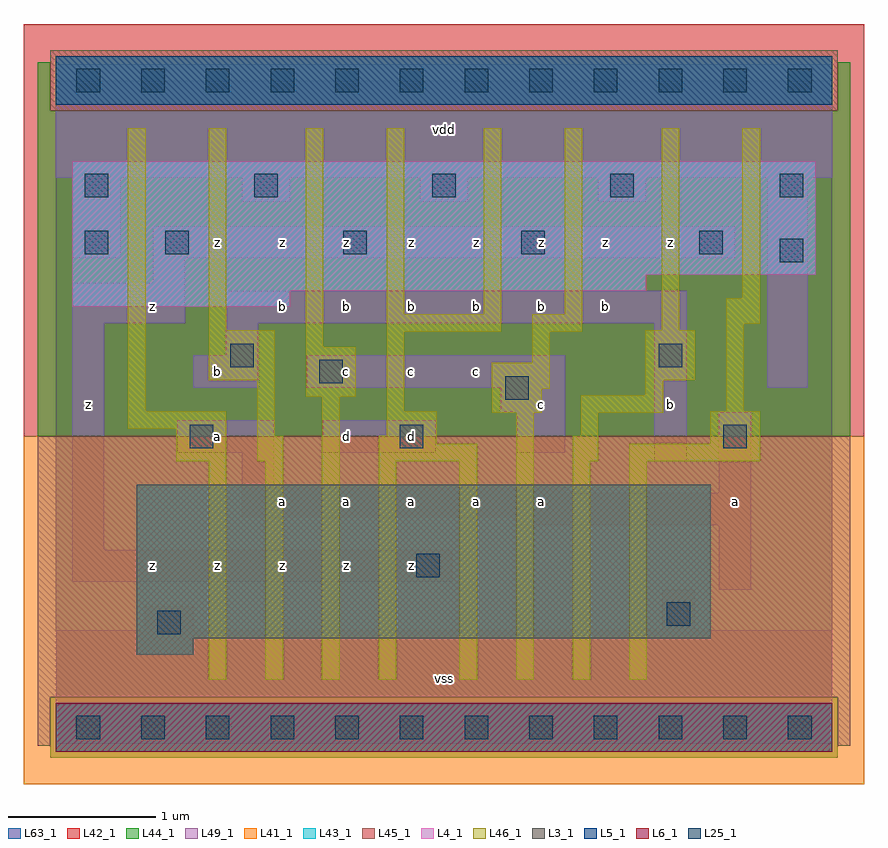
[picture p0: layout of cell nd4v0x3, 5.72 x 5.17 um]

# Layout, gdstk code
import gdstk
lib = gdstk.Library(unit=1e-6, precision=1e-09)
def R(c, l, rs):  # rectangles x0, y0, x1, y1
    for r in rs: c.add(gdstk.rectangle(r[:2], r[2:], *l))
def A(c, l, x, y, w, h, nx, ny, dx, dy):  # array of equal rectangles
    R(c, l, [(x+i*dx, y+j*dy, x+i*dx+w, y+j*dy+h) for i in range(nx) for j in range(ny)])
L3_1 = (3, 1)
L4_1 = (4, 1)
L5_1 = (5, 1)
L6_1 = (6, 1)
L25_1 = (25, 1)
L41_1 = (41, 1)
L42_1 = (42, 1)
L43_1 = (43, 1)
L44_1 = (44, 1)
L45_1 = (45, 1)
L46_1 = (46, 1)
L49_1 = (49, 1)
L63_1 = (63, 1)

nd4v0x3 = lib.new_cell('nd4v0x3')
R(nd4v0x3, L3_1, [(0.55,0.495,0.935,0.605), (0.55,0.605,4.455,1.65)])
R(nd4v0x3, L4_1, [(0.11,2.86,1.595,2.97), (0.11,2.97,4.015,3.08), (0.11,3.08,5.17,3.85)])
R(nd4v0x3, L5_1, [(0,4.235,5.28,4.565)])
R(nd4v0x3, L6_1, [(0,-0.165,5.28,0.165)])
A(nd4v0x3, L25_1, 0.14, -0.08, 0.16, 0.16, 12, 2, 0.44, 4.4)
A(nd4v0x3, L25_1, 0.745, 3.22, 0.16, 0.16, 4, 1, 1.21, 0)
A(nd4v0x3, L25_1, 1.35, 3.605, 0.16, 0.16, 3, 1, 1.21, 0)
R(nd4v0x3, L25_1, [(0.69,0.635,0.85,0.795), (4.155,0.69,4.315,0.85), (2.45,1.02,2.61,1.18), (0.91,1.9,1.07,2.06), (2.34,1.9,2.5,2.06), (4.54,1.9,4.7,2.06), (3.055,2.23,3.215,2.39), (1.79,2.34,1.95,2.5), (1.185,2.45,1.345,2.61), (4.1,2.45,4.26,2.61), (4.925,3.165,5.085,3.325), (0.195,3.22,0.355,3.38), (0.195,3.605,0.355,3.765), (4.925,3.605,5.085,3.765)])
R(nd4v0x3, L41_1, [(-0.22,-0.385,5.5,1.98)])
R(nd4v0x3, L42_1, [(-0.22,1.98,5.5,4.785)])
R(nd4v0x3, L43_1, [(0,-0.165,5.28,0.165), (0.55,0.495,0.935,0.605), (0.55,0.605,4.455,1.65), (0.11,2.86,1.595,2.97), (0.11,2.97,4.015,3.08), (0.11,3.08,5.17,3.85), (0,4.235,5.28,4.565)])
R(nd4v0x3, L44_1, [(-0.04,-0.205,5.32,0.205), (-0.125,1.98,5.405,4.195), (-0.125,4.195,-0.04,4.525), (5.32,4.195,5.405,4.525)])
R(nd4v0x3, L45_1, [(-0.125,-0.125,-0.04,0.205), (5.32,-0.125,5.405,0.205), (-0.125,0.205,5.405,1.98), (-0.04,4.195,5.32,4.605)])
R(nd4v0x3, L46_1, [(1.04,0.325,1.16,1.81), (1.425,0.325,1.545,1.81), (1.81,0.325,1.93,2.25), (2.195,0.325,2.315,1.81), (2.745,0.325,2.865,1.81), (3.13,0.325,3.25,2.14), (3.515,0.325,3.635,1.81), (3.9,0.325,4.02,1.81), (0.82,1.81,1.16,2.03), (1.37,1.81,1.545,1.985), (2.195,1.81,2.865,1.93), (3.515,1.81,3.69,1.985), (3.9,1.81,4.79,1.93), (2.195,1.93,2.59,1.985), (4.45,1.93,4.79,2.15), (1.37,1.985,1.49,2.36), (2.25,1.985,2.59,2.15), (3.57,1.985,3.69,2.14), (0.49,2.03,1.16,2.15), (2.965,2.14,3.305,2.305), (3.57,2.14,4.13,2.26), (0.49,2.15,0.61,4.075), (2.25,2.15,2.37,2.69), (4.56,2.15,4.68,2.745), (1.7,2.25,2.04,2.59), (4.01,2.26,4.13,2.36), (2.965,2.305,3.36,2.48), (1.04,2.36,1.49,2.7), (4.01,2.36,4.35,2.7), (3.24,2.48,3.36,2.69), (1.7,2.59,1.82,4.075), (2.25,2.69,3.03,2.81), (3.24,2.69,3.58,2.81), (1.04,2.7,1.16,4.075), (4.12,2.7,4.24,4.075), (4.56,2.745,4.79,2.92), (2.25,2.81,2.37,4.075), (2.91,2.81,3.03,4.075), (3.46,2.81,3.58,4.075), (4.67,2.92,4.79,4.075)])
A(nd4v0x3, L49_1, 1.265, 3.575, 0.33, 0.165, 3, 1, 1.21, 0)
R(nd4v0x3, L49_1, [(0,-0.11,5.28,0.66), (0.605,0.66,0.935,0.825), (4.125,0.66,4.345,0.935), (4.51,0.935,4.73,1.375), (0.11,0.99,2.695,1.21), (0.11,1.21,0.33,2.75), (3.135,1.375,4.73,1.43), (1.265,1.43,4.73,1.595), (1.265,1.595,3.465,1.65), (4.51,1.595,4.73,2.145), (1.265,1.65,1.485,1.87), (4.07,1.815,4.29,2.75), (0.825,1.87,1.485,2.09), (1.815,1.87,2.585,2.09), (3.135,1.87,3.465,2.145), (3.025,2.145,3.465,2.31), (0.935,2.31,1.375,2.53), (1.705,2.31,3.465,2.53), (4.84,2.31,5.115,3.74), (1.155,2.53,1.375,2.75), (0.11,2.75,0.88,3.025), (1.155,2.75,4.29,2.97), (0.66,3.025,0.88,3.19), (0.11,3.19,0.44,3.74), (0.66,3.19,4.62,3.41), (0,3.74,5.28,4.51)])
R(nd4v0x3, L63_1, [(0,0,5.28,4.4)])
nd4v0x3.add(gdstk.Label('z', (0.66,1.1), layer=49, texttype=1))
nd4v0x3.add(gdstk.Label('z', (0.22,2.2), layer=49, texttype=1))
nd4v0x3.add(gdstk.Label('z', (0.66,2.86), layer=49, texttype=1))
nd4v0x3.add(gdstk.Label('z', (1.1,1.1), layer=49, texttype=1))
nd4v0x3.add(gdstk.Label('z', (1.54,1.1), layer=49, texttype=1))
nd4v0x3.add(gdstk.Label('a', (1.54,1.54), layer=49, texttype=1))
nd4v0x3.add(gdstk.Label('a', (1.1,1.98), layer=49, texttype=1))
nd4v0x3.add(gdstk.Label('b', (1.1,2.42), layer=49, texttype=1))
nd4v0x3.add(gdstk.Label('b', (1.54,2.86), layer=49, texttype=1))
nd4v0x3.add(gdstk.Label('z', (1.1,3.3), layer=49, texttype=1))
nd4v0x3.add(gdstk.Label('z', (1.54,3.3), layer=49, texttype=1))
nd4v0x3.add(gdstk.Label('vss', (2.64,0.33), layer=49, texttype=1))
nd4v0x3.add(gdstk.Label('z', (1.98,1.1), layer=49, texttype=1))
nd4v0x3.add(gdstk.Label('a', (1.98,1.54), layer=49, texttype=1))
nd4v0x3.add(gdstk.Label('z', (2.42,1.1), layer=49, texttype=1))
nd4v0x3.add(gdstk.Label('a', (2.42,1.54), layer=49, texttype=1))
nd4v0x3.add(gdstk.Label('a', (2.86,1.54), layer=49, texttype=1))
nd4v0x3.add(gdstk.Label('d', (1.98,1.98), layer=49, texttype=1))
nd4v0x3.add(gdstk.Label('c', (1.98,2.42), layer=49, texttype=1))
nd4v0x3.add(gdstk.Label('d', (2.42,1.98), layer=49, texttype=1))
nd4v0x3.add(gdstk.Label('c', (2.42,2.42), layer=49, texttype=1))
nd4v0x3.add(gdstk.Label('c', (2.86,2.42), layer=49, texttype=1))
nd4v0x3.add(gdstk.Label('b', (2.42,2.86), layer=49, texttype=1))
nd4v0x3.add(gdstk.Label('b', (2.86,2.86), layer=49, texttype=1))
nd4v0x3.add(gdstk.Label('b', (1.98,2.86), layer=49, texttype=1))
nd4v0x3.add(gdstk.Label('z', (1.98,3.3), layer=49, texttype=1))
nd4v0x3.add(gdstk.Label('z', (2.42,3.3), layer=49, texttype=1))
nd4v0x3.add(gdstk.Label('z', (2.86,3.3), layer=49, texttype=1))
nd4v0x3.add(gdstk.Label('vdd', (2.64,4.07), layer=49, texttype=1))
nd4v0x3.add(gdstk.Label('a', (3.3,1.54), layer=49, texttype=1))
nd4v0x3.add(gdstk.Label('c', (3.3,2.2), layer=49, texttype=1))
nd4v0x3.add(gdstk.Label('b', (4.18,2.2), layer=49, texttype=1))
nd4v0x3.add(gdstk.Label('b', (3.74,2.86), layer=49, texttype=1))
nd4v0x3.add(gdstk.Label('b', (3.3,2.86), layer=49, texttype=1))
nd4v0x3.add(gdstk.Label('z', (3.3,3.3), layer=49, texttype=1))
nd4v0x3.add(gdstk.Label('z', (3.74,3.3), layer=49, texttype=1))
nd4v0x3.add(gdstk.Label('z', (4.18,3.3), layer=49, texttype=1))
nd4v0x3.add(gdstk.Label('a', (4.62,1.54), layer=49, texttype=1))

lib.write_gds('nd4v0x3.gds')
